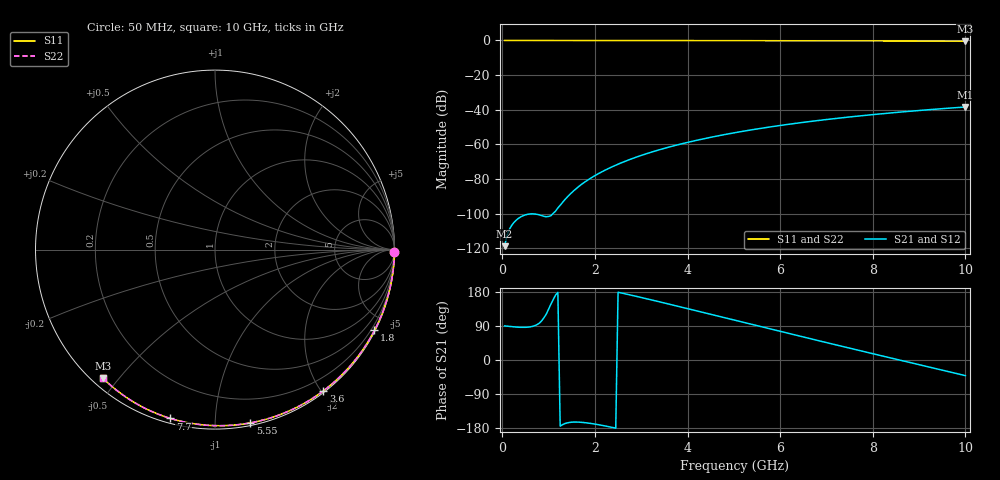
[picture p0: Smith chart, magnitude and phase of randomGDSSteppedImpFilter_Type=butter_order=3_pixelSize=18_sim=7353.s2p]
! freq	dB(S11)	phase(S11)	dB(S12)	phase(S12)
!  dB(S21)	phase(S21)	dB(S22)	phase(S22)
!S-par simulation data
#  GHz  S  DB  R 50
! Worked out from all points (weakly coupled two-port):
!   200 points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, 50 MHz to 10 GHz, reference 50 ohm
!   highest |S21| = -38.44 dB at 10 GHz (marker M1); lowest = -118.9 dB at 50 MHz (marker M2)
!   lowest |S11| = -0.4 dB at 10 GHz (marker M3), VSWR 39.10, Z = 1.54 - j22.7 ohm
!   |S11| at or under -10 dB: nowhere
!   |S22| runs from -0.4 to 0.0 dB; largest |S21 - S12| = 0
!   S11 on the Smith chart (normalised r, x): 50 MHz: open; 1.8 GHz: 0.04, -4.19; 3.6 GHz: 0.02, -2.03; 5.55 GHz: 0.02, -1.22; 7.7 GHz: 0.02, -0.77; 10 GHz: 0.03, -0.45
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0.05  -0.00 -0.8  -118.88 89.9  -118.88 89.9  -0.00 -0.8
0.9  -0.02 -13.6  -101.62 111.6  -101.62 111.6  -0.02 -13.6
1.75  -0.03 -26.1  -82.41 -164.9  -82.41 -164.9  -0.03 -26.1
1.8  -0.03 -26.9  -81.47 -165.6  -81.47 -165.6  -0.03 -26.9
1.85  -0.04 -27.6  -80.58 -166.3  -80.58 -166.3  -0.04 -27.6
1.9  -0.04 -28.3  -79.73 -167.2  -79.73 -167.2  -0.04 -28.3
2.05  -0.04 -30.5  -77.35 -170.2  -77.35 -170.2  -0.04 -30.5
2.25  -0.04 -33.4  -74.54 -174.8  -74.54 -174.8  -0.04 -33.4
2.45  -0.05 -36.3  -72.06 -179.8  -72.06 -179.8  -0.05 -36.3
2.65  -0.05 -39.2  -69.84 174.8  -69.84 174.8  -0.05 -39.2
3  -0.06 -44.1  -66.43 165.0  -66.43 165.0  -0.06 -44.1
3.4  -0.07 -49.8  -63.09 153.4  -63.09 153.4  -0.07 -49.8
3.6  -0.07 -52.5  -61.60 147.5  -61.60 147.5  -0.07 -52.5
4.3  -0.09 -62.1  -57.09 126.6  -57.09 126.6  -0.09 -62.1
5.05  -0.11 -72.0  -53.16 104.1  -53.16 104.1  -0.11 -72.0
5.55  -0.13 -78.5  -50.93 89.1  -50.93 89.1  -0.13 -78.5
6.1  -0.15 -85.4  -48.75 72.6  -48.75 72.6  -0.15 -85.4
6.7  -0.18 -92.8  -46.65 54.8  -46.65 54.8  -0.18 -92.8
7.7  -0.24 -104.8  -43.65 25.4  -43.65 25.4  -0.24 -104.8
8.35  -0.29 -112.4  -41.97 6.5  -41.97 6.5  -0.29 -112.4
9.15  -0.36 -121.5  -40.14 -16.7  -40.14 -16.7  -0.36 -121.5
10  -0.44 -131.1  -38.44 -41.3  -38.44 -41.3  -0.44 -131.1
